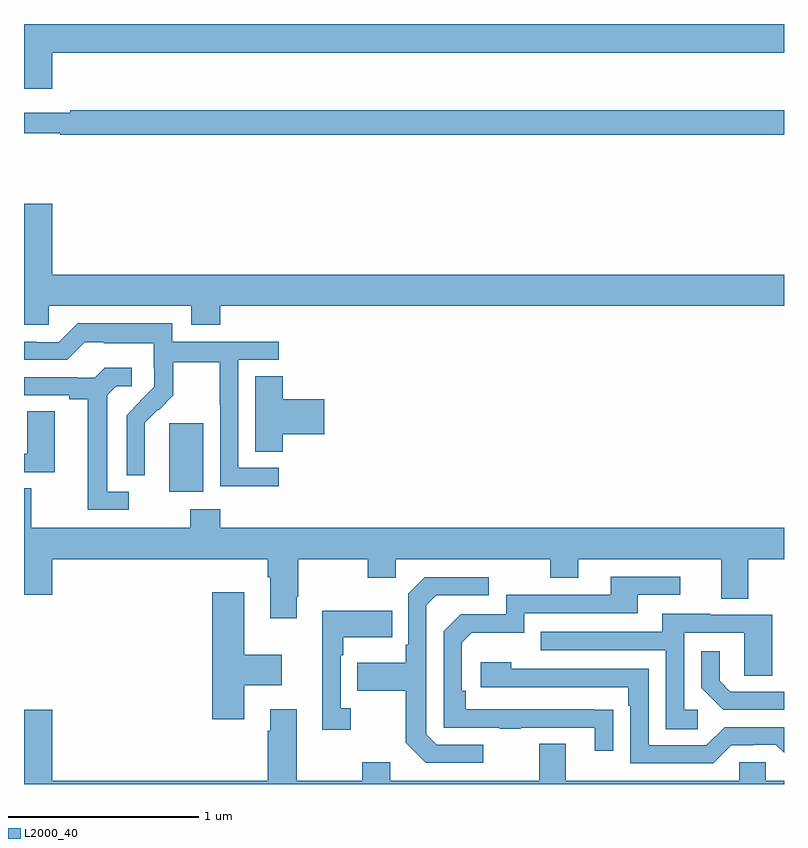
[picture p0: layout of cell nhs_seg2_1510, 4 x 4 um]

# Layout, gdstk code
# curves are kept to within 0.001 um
import gdstk
lib = gdstk.Library(unit=1e-6, precision=1e-09)
def R(c, l, rs):  # rectangles x0, y0, x1, y1
    for r in rs: c.add(gdstk.rectangle(r[:2], r[2:], *l))
def P(c, l, *ps):  # polygons
    for p in ps: c.add(gdstk.Polygon(p, *l))
L2000_40 = (2000, 40)

nhs_seg2_1510 = lib.new_cell('nhs_seg2_1510')
R(nhs_seg2_1510, L2000_40, [(189.764,633.338,189.943,633.699)])
P(nhs_seg2_1510, L2000_40, [(193,635.8),(189,635.8),(189,635.46),(189.148,635.46),(189.148,635.648),(193,635.648)],
  [(193,635.347),(189.244,635.347),(189.244,635.334),(189,635.334),(189,635.226),(189.19,635.226),(189.19,635.218),(193,635.218)],
  [(190.034,634.316),(193,634.316),(193,634.48),(189.148,634.48),(189.148,634.855),(189,634.855),(189,634.218),(189.129,634.218),(189.129,634.316),(189.881,634.316),(189.881,634.217),(190.034,634.217)],
  [(190.342,633.465),(190.128,633.465),(190.128,634.032),(190.342,634.032),(190.342,634.128),(189.78,634.128),(189.78,634.225),(189.283,634.225),(189.183,634.125),(189.068,634.125),(189.068,634.128),(189,634.128),(189,634.032),(189.228,634.032),(189.321,634.125),(189.421,634.125),(189.421,634.121),(189.684,634.121),(189.684,633.987),(189.686,633.987),(189.686,633.89),(189.54,633.742),(189.54,633.424),(189.636,633.424),(189.635,633.701),(189.705,633.771),(189.708,633.768),(189.785,633.845),(189.785,634.02),(190.03,634.02),(190.03,633.796),(190.032,633.796),(190.032,633.367),(190.342,633.367)],
  [(189.55,633.339),(189.439,633.339),(189.439,633.847),(189.486,633.894),(189.568,633.894),(189.568,633.991),(189.424,633.991),(189.372,633.939),(189.278,633.939),(189.278,633.942),(189,633.942),(189,633.846),(189.239,633.846),(189.239,633.824),(189.335,633.824),(189.335,633.243),(189.55,633.243)],
  [(190.361,633.641),(190.579,633.641),(190.579,633.824),(190.361,633.824),(190.361,633.947),(190.217,633.947),(190.217,633.55),(190.361,633.55)],
  [(189.163,633.761),(189.018,633.761),(189.018,633.537),(189,633.537),(189,633.441),(189.163,633.441)],
  [(190.435,632.785),(190.443,632.785),(190.443,632.984),(190.81,632.984),(190.81,632.885),(190.956,632.885),(190.956,632.984),(191.77,632.984),(191.77,632.885),(191.917,632.885),(191.917,632.984),(192.671,632.984),(192.671,632.776),(192.811,632.776),(192.811,632.984),(193,632.984),(193,633.148),(190.034,633.148),(190.034,633.247),(189.874,633.247),(189.874,633.148),(189.037,633.148),(189.037,633.356),(189,633.356),(189,632.796),(189.148,632.796),(189.148,632.984),(190.283,632.984),(190.283,632.888),(190.295,632.888),(190.295,632.673),(190.435,632.673)],
  [(192.101,632.192),(191.324,632.193),(191.324,632.29),(191.304,632.29),(191.304,632.544),(191.357,632.597),(191.634,632.597),(191.634,632.7),(192.229,632.7),(192.229,632.796),(192.454,632.796),(192.454,632.892),(192.089,632.892),(192.089,632.796),(191.538,632.796),(191.538,632.694),(191.298,632.694),(191.208,632.604),(191.208,632.097),(191.503,632.097),(191.503,632.092),(191.615,632.092),(191.615,632.097),(192.005,632.097),(192.005,631.974),(192.101,631.974)],
  [(191.416,632.007),(191.172,632.007),(191.118,632.061),(191.118,632.742),(191.169,632.793),(191.446,632.793),(191.446,632.889),(191.109,632.889),(191.022,632.802),(191.022,632.533),(191.01,632.533),(191.01,632.437),(190.753,632.437),(190.753,632.29),(191.01,632.29),(191.01,632.017),(191.115,631.911),(191.416,631.911)],
  [(190.159,632.321),(190.357,632.321),(190.357,632.479),(190.159,632.479),(190.159,632.809),(189.992,632.809),(189.992,632.142),(190.159,632.142)],
  [(190.72,632.198),(190.668,632.198),(190.668,632.477),(190.681,632.477),(190.681,632.573),(190.937,632.573),(190.937,632.713),(190.571,632.713),(190.571,632.085),(190.72,632.085)],
  [(192.547,632.19),(192.474,632.19),(192.474,632.595),(192.792,632.595),(192.792,632.371),(192.937,632.371),(192.937,632.691),(192.613,632.691),(192.613,632.695),(192.359,632.695),(192.359,632.601),(191.719,632.601),(191.719,632.505),(192.378,632.505),(192.378,632.089),(192.547,632.089)],
  [(193,632.286),(192.718,632.286),(192.661,632.343),(192.661,632.5),(192.564,632.5),(192.564,632.306),(192.68,632.19),(193,632.19)],
  [(192.723,632.004),(192.842,632.004),(192.842,632.007),(192.957,632.007),(193,631.964),(193,632.1),(192.687,632.1),(192.591,632.004),(192.288,632.004),(192.288,632.406),(191.564,632.406),(191.564,632.44),(191.403,632.44),(191.403,632.31),(192.179,632.31),(192.179,632.213),(192.192,632.213),(192.192,631.908),(192.627,631.908)],
  [(193,631.816),(192.903,631.816),(192.903,631.914),(192.765,631.914),(192.765,631.816),(191.851,631.816),(191.851,632.011),(191.711,632.011),(191.711,631.816),(190.927,631.816),(190.927,631.915),(190.78,631.915),(190.78,631.816),(190.435,631.816),(190.435,632.194),(190.295,632.194),(190.295,632.081),(190.283,632.081),(190.283,631.816),(189.148,631.816),(189.148,632.191),(189,632.191),(189,631.8),(193,631.8)])

lib.write_gds('nhs_seg2_1510.gds')
